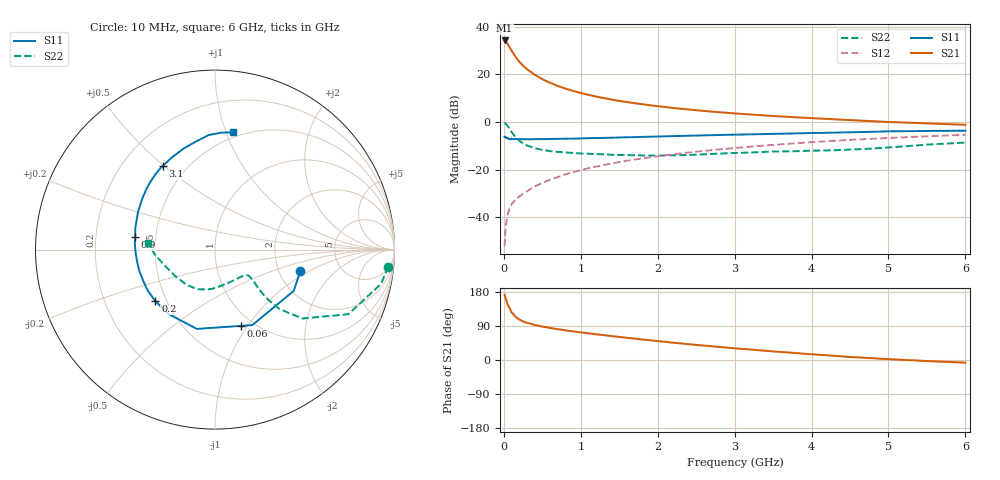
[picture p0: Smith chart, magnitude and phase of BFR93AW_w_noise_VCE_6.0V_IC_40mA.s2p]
! Infineon Technologies  Discrete & RF Semiconductors
! BFR93AW
! VCE =  6.0 V,  IC =  40 mA
! Common Emitter S-Parameters:  Jan 2017
# GHz  S  MA  R  50
!  f  S11  S21  S12  S22
! GHz  MAG  ANG  MAG  ANG  MAG  ANG  MAG  ANG
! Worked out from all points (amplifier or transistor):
!   77 points, 10 MHz to 6 GHz, reference 50 ohm
!   highest |S21| = 34.2 dB at 10 MHz (marker M1)
!   |S21| within 3 dB of that: start of sweep to 76.92 MHz
!   unconditionally stable (mu >= 1): 542.7 MHz to 2.009 GHz
!   at 130 MHz: K = 0.57, MSG = 30.9 dB, |S12| = -33.3 dB
!   at 2.2 GHz: K = 0.99, MSG = 9.7 dB, |S12| = -13.5 dB
!   at 6 GHz: K = 0.88, MSG = 2.1 dB, |S12| = -5.4 dB
!   lowest NFmin = 2.04 dB at 450 MHz
!   S11 on the Smith chart (normalised r, x): 10 MHz: 2.63, -0.82; 60 MHz: 0.88, -0.93; 200 MHz: 0.43, -0.31; 900 MHz: 0.38, +0.07; 3.1 GHz: 0.37, +0.49; 6 GHz: 0.46, +1.06
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0.01  0.4908 -14.0  51.52 172.0  0.0025 79.7  0.9695 -5.6
0.02  0.4952 -27.7  50.73 165.0  0.005 82.7  0.9455 -11.6
0.05  0.4692 -63.7  43.47 145.9  0.0119 67.9  0.826 -25.8
0.06  0.4493 -71.0  40.76 142.8  0.0132 66.2  0.7822 -27.8
0.1  0.4533 -102.9  31.53 125.7  0.0187 61.7  0.6196 -38.3
0.15  0.442 -125.4  23.59 114.3  0.0235 60.4  0.4875 -42.7
0.2  0.4394 -139.0  18.56 107.0  0.0273 61.2  0.4083 -43.3
0.25  0.4388 -148.5  15.24 101.8  0.0316 62.1  0.3588 -42.7
0.3  0.4363 -155.4  12.86 98.2  0.0351 64.6  0.3238 -41.8
0.4  0.4385 -164.8  9.854 92.4  0.0444 68.1  0.2843 -39.7
0.5  0.4392 -171.7  7.944 88.2  0.053 69.2  0.2613 -38.5
0.6  0.4423 -177.1  6.682 84.6  0.0618 69.9  0.2468 -37.9
0.7  0.4451 178.6  5.747 81.4  0.0702 71.1  0.2374 -37.8
0.9  0.4505 171.1  4.501 75.5  0.0892 71.2  0.2251 -39.3
1.1  0.4599 164.9  3.727 70.5  0.1078 71.0  0.217 -42.2
1.3  0.4666 159.4  3.18 65.5  0.126 69.9  0.2103 -46.0
1.5  0.4758 154.7  2.783 60.9  0.1448 68.8  0.2042 -50.8
2.1  0.503 141.1  2.066 47.9  0.2015 64.5  0.2 -70.1
3.1  0.549 122.1  1.483 29.3  0.2951 55.5  0.2274 -102.9
4.1  0.5937 105.6  1.188 13.8  0.3881 45.3  0.2527 -132.2
5.1  0.6412 91.9  0.992 1.3  0.4723 34.3  0.3013 -165.3
6  0.6611 81.3  0.878 -7.1  0.5389 24.2  0.3727 174.5
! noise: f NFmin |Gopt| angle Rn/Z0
0.45  2.04  0.23  -180  0.16
0.9  2.33  0.29  -170  0.17
1.9  3.4  0.52  -133  0.35
2.4  4.1  0.57  -123  0.66
